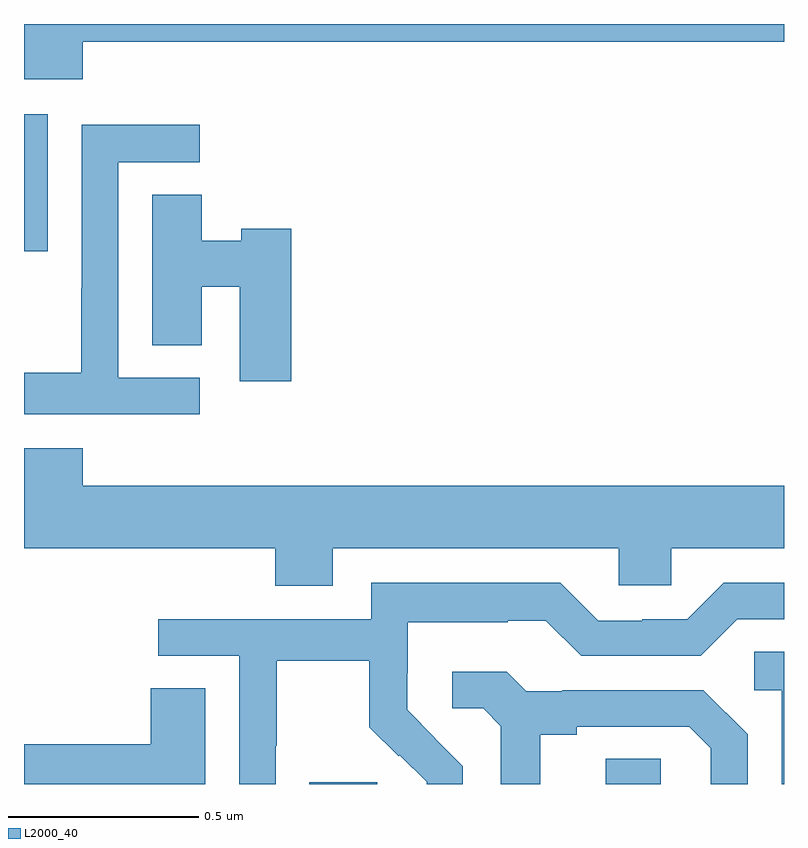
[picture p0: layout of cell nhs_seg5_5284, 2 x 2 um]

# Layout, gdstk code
import gdstk
lib = gdstk.Library(unit=1e-6, precision=1e-09)
def R(c, l, rs):  # rectangles x0, y0, x1, y1
    for r in rs: c.add(gdstk.rectangle(r[:2], r[2:], *l))
def P(c, l, *ps):  # polygons
    for p in ps: c.add(gdstk.Polygon(p, *l))
L2000_40 = (2000, 40)

nhs_seg5_5284 = lib.new_cell('nhs_seg5_5284')
R(nhs_seg5_5284, L2000_40, [(181.751,862.799,181.93,862.803), (182.531,862.799,182.676,862.865), (181,864.201,181.063,864.562)])
P(nhs_seg5_5284, L2000_40, [(181.154,864.752),(183,864.752),(183,864.799),(181,864.799),(181,864.653),(181.154,864.653)],
  [(181.462,863.868),(181.248,863.868),(181.248,864.435),(181.462,864.435),(181.462,864.534),(181.152,864.534),(181.152,864.104),(181.15,864.104),(181.15,863.881),(181,863.881),(181,863.772),(181.462,863.772)],
  [(181.703,864.26),(181.572,864.26),(181.572,864.229),(181.468,864.229),(181.468,864.35),(181.337,864.35),(181.337,863.953),(181.468,863.953),(181.468,864.107),(181.568,864.107),(181.568,863.859),(181.703,863.859)],
  [(181.813,863.42),(182.565,863.42),(182.565,863.322),(182.703,863.322),(182.703,863.42),(183,863.42),(183,863.584),(181.154,863.584),(181.154,863.683),(181.001,863.683),(181.001,863.584),(181,863.584),(181,863.42),(181.661,863.42),(181.661,863.321),(181.813,863.321)],
  [(181.662,862.9),(181.665,862.9),(181.665,863.124),(181.909,863.124),(181.909,862.949),(181.986,862.872),(181.989,862.875),(182.06,862.805),(182.06,862.799),(182.154,862.799),(182.154,862.846),(182.081,862.919),(182.082,862.92),(182.008,862.994),(182.008,863.091),(182.01,863.091),(182.01,863.225),(182.273,863.225),(182.273,863.229),(182.373,863.229),(182.466,863.136),(182.781,863.136),(182.877,863.232),(183,863.232),(183,863.328),(182.841,863.328),(182.745,863.232),(182.627,863.232),(182.627,863.229),(182.511,863.229),(182.411,863.329),(181.914,863.329),(181.914,863.232),(181.353,863.232),(181.353,863.136),(181.566,863.136),(181.566,862.799),(181.662,862.799)],
  [(183,863.147),(182.922,863.147),(182.922,863.046),(182.994,863.046),(182.994,862.799),(183,862.799)],
  [(182.359,862.928),(182.455,862.928),(182.455,862.95),(182.75,862.95),(182.807,862.893),(182.807,862.799),(182.904,862.799),(182.904,862.93),(182.788,863.046),(182.416,863.046),(182.416,863.043),(182.322,863.043),(182.27,863.095),(182.127,863.095),(182.127,862.998),(182.208,862.998),(182.255,862.951),(182.255,862.799),(182.359,862.799)],
  [(181.477,863.051),(181.334,863.051),(181.334,862.904),(181,862.904),(181,862.799),(181.477,862.799)])

lib.write_gds('nhs_seg5_5284.gds')
